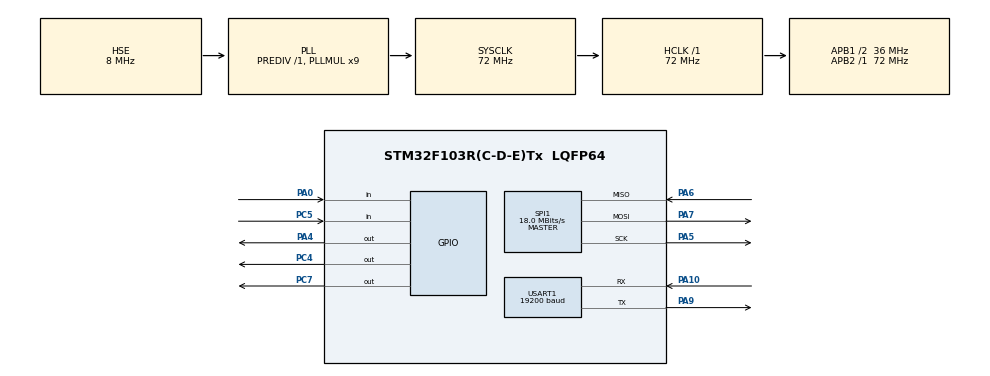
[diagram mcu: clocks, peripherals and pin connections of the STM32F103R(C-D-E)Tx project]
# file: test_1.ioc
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Mcu.Family=STM32F1
Mcu.Name=STM32F103R(C-D-E)Tx
Mcu.Package=LQFP64
NVIC.PriorityGroup=NVIC_PRIORITYGROUP_4
NVIC.SPI1_IRQn=true\:0\:0\:false\:false\:true
NVIC.USART1_IRQn=true\:0\:0\:false\:false\:true
PA0-WKUP.Signal=GPIO_Input
PA10.Mode=Asynchronous
PA10.Signal=USART1_RX
PA4.Signal=GPIO_Output
PA5.Mode=Full_Duplex_Master
PA5.Signal=SPI1_SCK
PA6.Mode=Full_Duplex_Master
PA6.Signal=SPI1_MISO
PA7.Mode=Full_Duplex_Master
PA7.Signal=SPI1_MOSI
PA9.Mode=Asynchronous
PA9.Signal=USART1_TX
PC4.Signal=GPIO_Output
PC5.Signal=GPIO_Input
PC7.Signal=GPIO_Output
PD0-OSC_IN.Mode=HSE-External-Oscillator
PD0-OSC_IN.Signal=RCC_OSC_IN
PD1-OSC_OUT.Mode=HSE-External-Oscillator
PD1-OSC_OUT.Signal=RCC_OSC_OUT
ProjectManager.HeapSize=0x200
ProjectManager.StackSize=0x400
ProjectManager.TargetToolchain=MDK-ARM V5
RCC.AHBFreq_Value=72000000
RCC.APB1CLKDivider=RCC_HCLK_DIV2
RCC.APB1Freq_Value=36000000
RCC.APB1TimFreq_Value=72000000
RCC.APB2Freq_Value=72000000
RCC.APB2TimFreq_Value=72000000
RCC.HCLKFreq_Value=72000000
RCC.HSIState=RCC_HSI_ON
RCC.PLLMUL=RCC_PLL_MUL9
RCC.PLLSourceVirtual=RCC_PLLSOURCE_HSE
RCC.SYSCLKFreq_VALUE=72000000
RCC.SYSCLKSource=RCC_SYSCLKSOURCE_PLLCLK
RCC.USBFreq_Value=72000000
SPI1.BaudRatePrescaler=SPI_BAUDRATEPRESCALER_4
SPI1.CalculateBaudRate=18.0 MBits/s
SPI1.Mode=SPI_MODE_MASTER
USART1.BaudRate=19200
board=test_1

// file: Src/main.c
/**
  ******************************************************************************
  * File Name          : main.c
  * Description        : Main program body
  ******************************************************************************
  *
  * COPYRIGHT(c) 2018 STMicroelectronics
  *
  * Redistribution and use in source and binary forms, with or without modification,
  * are permitted provided that the following conditions are met:
  *   1. Redistributions of source code must retain the above copyright notice,
  *      this list of conditions and the following disclaimer.
  *   2. Redistributions in binary form must reproduce the above copyright notice,
  *      this list of conditions and the following disclaimer in the documentation
  *      and/or other materials provided with the distribution.
  *   3. Neither the name of STMicroelectronics nor the names of its contributors
  *      may be used to endorse or promote products derived from this software
  *      without specific prior written permission.
  *
  * THIS SOFTWARE IS PROVIDED BY THE COPYRIGHT HOLDERS AND CONTRIBUTORS "AS IS"
  * AND ANY EXPRESS OR IMPLIED WARRANTIES, INCLUDING, BUT NOT LIMITED TO, THE
  * IMPLIED WARRANTIES OF MERCHANTABILITY AND FITNESS FOR A PARTICULAR PURPOSE ARE
  * DISCLAIMED. IN NO EVENT SHALL THE COPYRIGHT HOLDER OR CONTRIBUTORS BE LIABLE
  * FOR ANY DIRECT, INDIRECT, INCIDENTAL, SPECIAL, EXEMPLARY, OR CONSEQUENTIAL
  * DAMAGES (INCLUDING, BUT NOT LIMITED TO, PROCUREMENT OF SUBSTITUTE GOODS OR
  * SERVICES; LOSS OF USE, DATA, OR PROFITS; OR BUSINESS INTERRUPTION) HOWEVER
  * CAUSED AND ON ANY THEORY OF LIABILITY, WHETHER IN CONTRACT, STRICT LIABILITY,
  * OR TORT (INCLUDING NEGLIGENCE OR OTHERWISE) ARISING IN ANY WAY OUT OF THE USE
  * OF THIS SOFTWARE, EVEN IF ADVISED OF THE POSSIBILITY OF SUCH DAMAGE.
  *
  ******************************************************************************
  */
#include "stm32f1xx_hal.h"

/* USER CODE BEGIN Includes */
#include "SX1278.h"
#include "main.h"

/* USER CODE END Includes */

SPI_HandleTypeDef hspi1;

UART_HandleTypeDef huart1;

/* USER CODE BEGIN PV */
/* Private variables ---------------------------------------------------------*/
SX1278_hw_t SX1278_hw;
SX1278_t SX1278;

int master=0;
int ret;

char buffer[64];
char* a="hugfdjgf";
int message;
int message_length;

UART uart_rs232;
/* USER CODE END PV */

void SystemClock_Config(void);
static void MX_GPIO_Init(void);
static void MX_SPI1_Init(void);
static void MX_USART1_UART_Init(void);

/* USER CODE BEGIN PFP */
/* Private function prototypes -----------------------------------------------*/

/* USER CODE END PFP */

/* USER CODE BEGIN 0 */
int _write(int file, char *ptr, int len) {
	int i;
	for (i = 0; i < len; i++) {
		ITM_SendChar(*ptr++);
	}
	return len;
}

void HAL_UART_RxCpltCallback(UART_HandleTypeDef *huart)
{
    if (huart->Instance == huart1.Instance)                                                               //current UART
		{
				if (uart_rs232.Rx_indx==0)
				{
						for (uint8_t i=0;i<100;i++) uart_rs232.Rx_Buffer[i]=0;                                        //clear Rx_Buffer before receiving new data
				}
				if (uart_rs232.Rx_data[0]!='\n')                                                                  //if received data different from ascii 13 (enter)
				{
						uart_rs232.Rx_Buffer[uart_rs232.Rx_indx++]=uart_rs232.Rx_data[0];                            //add data to Rx_Buffer
				}
				else                                                                                             //if received data = 13
				{
						uart_rs232.Rx_indx=0;
						HAL_UART_Transmit_IT(&huart1,(uint8_t *)uart_rs232.Rx_Buffer,sizeof(uart_rs232.Rx_Buffer));
				}
				HAL_UART_Receive_IT(&huart1,(uint8_t *)uart_rs232.Rx_data, 1);
		}
}
/* USER CODE END 0 */

int main(void)
{

  /* MCU Configuration----------------------------------------------------------*/

  /* Reset of all peripherals, Initializes the Flash interface and the Systick. */
  HAL_Init();

  /* Configure the system clock */
  SystemClock_Config();

  /* Initialize all configured peripherals */
  MX_GPIO_Init();
  MX_SPI1_Init();
  MX_USART1_UART_Init();

  /* USER CODE BEGIN 2 */

	__HAL_UART_ENABLE_IT(&huart1,UART_IT_RXNE);
	__HAL_UART_ENABLE_IT(&huart1,UART_IT_TC);
	HAL_UART_Receive_IT(&huart1,(uint8_t *)uart_rs232.Rx_data, 1);

	//master = HAL_GPIO_ReadPin(GPIOA, GPIO_PIN_0);
	if (master == 1) {
		HAL_UART_Transmit_IT(&huart1,(uint8_t *)"Mode: Master\r\n",15);
		HAL_GPIO_WritePin(GPIOA, GPIO_PIN_0, GPIO_PIN_RESET);
	} else {
		HAL_UART_Transmit_IT(&huart1,(uint8_t *)"Mode: Slave\r\n",15);
		HAL_GPIO_WritePin(GPIOA, GPIO_PIN_0, GPIO_PIN_SET);
	}
	HAL_Delay(500);
	SX1278_hw.dio0.port = GPIOC; //  DIO
	SX1278_hw.dio0.pin = GPIO_PIN_5;
	SX1278_hw.nss.port = GPIOA;		//	NSS
	SX1278_hw.nss.pin = GPIO_PIN_4;
	SX1278_hw.reset.port = GPIOC;		//	RESET
	SX1278_hw.reset.pin = GPIO_PIN_4;
	SX1278_hw.spi = &hspi1;

	SX1278.hw = &SX1278_hw;

	HAL_UART_Transmit_IT(&huart1,(uint8_t *)"Configuring LoRa module\r\n",30);
	HAL_Delay(500);
	SX1278_begin(&SX1278, SX1278_433MHZ, SX1278_POWER_17DBM, SX1278_LORA_SF_8, SX1278_LORA_BW_20_8KHZ, 10);
	HAL_UART_Transmit_IT(&huart1,(uint8_t *)"Done configuring LoRaModule\r\n",30);
	HAL_Delay(500);
	if (master == 1) {
		ret = SX1278_LoRaEntryTx(&SX1278, 16, 2000);
	} else {
		ret = SX1278_LoRaEntryRx(&SX1278, 16, 2000);
	}
  /* USER CODE END 2 */

  /* Infinite loop */
  /* USER CODE BEGIN WHILE */
  while (1)
  {
			if (master == 1)
			{
					HAL_UART_Transmit_IT(&huart1,(uint8_t *)"Master ...\r\n",12);
					HAL_Delay(500);
					HAL_UART_Transmit_IT(&huart1,(uint8_t *)"Sending package...\r\n",20);
					HAL_Delay(500);
					message_length = sprintf(buffer, "Hello %d", message);
					ret = SX1278_LoRaEntryTx(&SX1278, message_length, 2000);
					ret = SX1278_LoRaTxPacket(&SX1278, (uint8_t *) buffer, message_length, 2000);
					message += 1;
					HAL_Delay(2000);
			}
			else
			{
					ret = SX1278_LoRaRxPacket(&SX1278);
					if (ret > 0)
					{
							SX1278_read(&SX1278, (uint8_t *) buffer, ret);
							HAL_UART_Transmit_IT(&huart1,(uint8_t *)buffer,sizeof(buffer));
					}
			}
  /* USER CODE END WHILE */

  }

}

/** System Clock Configuration
*/
void SystemClock_Config(void)
{

  RCC_OscInitTypeDef RCC_OscInitStruct;
  RCC_ClkInitTypeDef RCC_ClkInitStruct;

  RCC_OscInitStruct.OscillatorType = RCC_OSCILLATORTYPE_HSE;
  RCC_OscInitStruct.HSEState = RCC_HSE_ON;
  RCC_OscInitStruct.HSEPredivValue = RCC_HSE_PREDIV_DIV1;
  RCC_OscInitStruct.PLL.PLLState = RCC_PLL_ON;
  RCC_OscInitStruct.PLL.PLLSource = RCC_PLLSOURCE_HSE;
  RCC_OscInitStruct.PLL.PLLMUL = RCC_PLL_MUL9;
  HAL_RCC_OscConfig(&RCC_OscInitStruct);

  RCC_ClkInitStruct.ClockType = RCC_CLOCKTYPE_HCLK|RCC_CLOCKTYPE_SYSCLK
                              |RCC_CLOCKTYPE_PCLK1|RCC_CLOCKTYPE_PCLK2;
  RCC_ClkInitStruct.SYSCLKSource = RCC_SYSCLKSOURCE_PLLCLK;
  RCC_ClkInitStruct.AHBCLKDivider = RCC_SYSCLK_DIV1;
  RCC_ClkInitStruct.APB1CLKDivider = RCC_HCLK_DIV2;
  RCC_ClkInitStruct.APB2CLKDivider = RCC_HCLK_DIV1;
  HAL_RCC_ClockConfig(&RCC_ClkInitStruct, FLASH_LATENCY_2);

  HAL_SYSTICK_Config(HAL_RCC_GetHCLKFreq()/1000);

  HAL_SYSTICK_CLKSourceConfig(SYSTICK_CLKSOURCE_HCLK);

  /* SysTick_IRQn interrupt configuration */
  HAL_NVIC_SetPriority(SysTick_IRQn, 0, 0);
}

/* SPI1 init function */
void MX_SPI1_Init(void)
{

  hspi1.Instance = SPI1;
  hspi1.Init.Mode = SPI_MODE_MASTER;
  hspi1.Init.Direction = SPI_DIRECTION_2LINES;
  hspi1.Init.DataSize = SPI_DATASIZE_8BIT;
  hspi1.Init.CLKPolarity = SPI_POLARITY_LOW;
  hspi1.Init.CLKPhase = SPI_PHASE_1EDGE;
  hspi1.Init.NSS = SPI_NSS_SOFT;
  hspi1.Init.BaudRatePrescaler = SPI_BAUDRATEPRESCALER_4;
  hspi1.Init.FirstBit = SPI_FIRSTBIT_MSB;
  hspi1.Init.TIMode = SPI_TIMODE_DISABLE;
  hspi1.Init.CRCCalculation = SPI_CRCCALCULATION_DISABLE;
  hspi1.Init.CRCPolynomial = 10;
  HAL_SPI_Init(&hspi1);

}

/* USART1 init function */
void MX_USART1_UART_Init(void)
{

  huart1.Instance = USART1;
  huart1.Init.BaudRate = 19200;
  huart1.Init.WordLength = UART_WORDLENGTH_8B;
  huart1.Init.StopBits = UART_STOPBITS_1;
  huart1.Init.Parity = UART_PARITY_NONE;
  huart1.Init.Mode = UART_MODE_TX_RX;
  huart1.Init.HwFlowCtl = UART_HWCONTROL_NONE;
  huart1.Init.OverSampling = UART_OVERSAMPLING_16;
  HAL_UART_Init(&huart1);

}

/** Configure pins as
        * Analog
        * Input
        * Output
        * EVENT_OUT
        * EXTI
*/
void MX_GPIO_Init(void)
{

  GPIO_InitTypeDef GPIO_InitStruct;

  /* GPIO Ports Clock Enable */
  __HAL_RCC_GPIOD_CLK_ENABLE();
  __HAL_RCC_GPIOA_CLK_ENABLE();
  __HAL_RCC_GPIOC_CLK_ENABLE();

  /*Configure GPIO pin : PA0 */
  GPIO_InitStruct.Pin = GPIO_PIN_0;
  GPIO_InitStruct.Mode = GPIO_MODE_INPUT;
  GPIO_InitStruct.Pull = GPIO_NOPULL;
  HAL_GPIO_Init(GPIOA, &GPIO_InitStruct);

  /*Configure GPIO pin : PA4 */
  GPIO_InitStruct.Pin = GPIO_PIN_4;
  GPIO_InitStruct.Mode = GPIO_MODE_OUTPUT_PP;
  GPIO_InitStruct.Speed = GPIO_SPEED_FREQ_LOW;
  HAL_GPIO_Init(GPIOA, &GPIO_InitStruct);

  /*Configure GPIO pins : PC4 PC7 */
  GPIO_InitStruct.Pin = GPIO_PIN_4|GPIO_PIN_7;
  GPIO_InitStruct.Mode = GPIO_MODE_OUTPUT_PP;
  GPIO_InitStruct.Speed = GPIO_SPEED_FREQ_LOW;
  HAL_GPIO_Init(GPIOC, &GPIO_InitStruct);

  /*Configure GPIO pin : PC5 */
  GPIO_InitStruct.Pin = GPIO_PIN_5;
  GPIO_InitStruct.Mode = GPIO_MODE_INPUT;
  GPIO_InitStruct.Pull = GPIO_NOPULL;
  HAL_GPIO_Init(GPIOC, &GPIO_InitStruct);

  /*Configure GPIO pin Output Level */
  HAL_GPIO_WritePin(GPIOA, GPIO_PIN_4, GPIO_PIN_RESET);

  /*Configure GPIO pin Output Level */
  HAL_GPIO_WritePin(GPIOC, GPIO_PIN_4|GPIO_PIN_7, GPIO_PIN_RESET);

}

/************************ (C) COPYRIGHT STMicroelectronics *****END OF FILE****/
